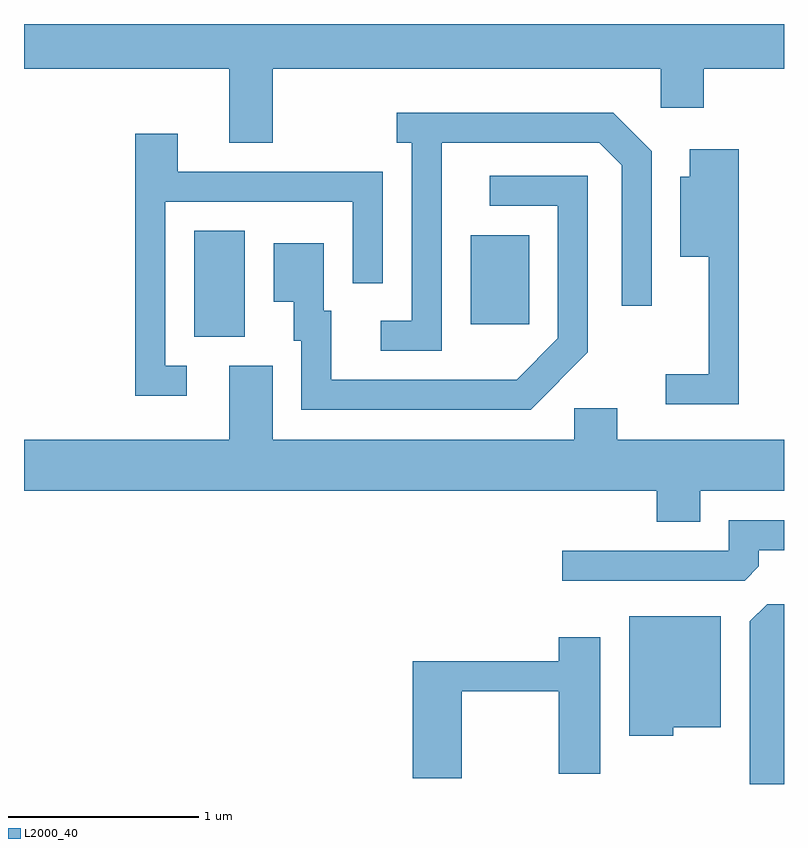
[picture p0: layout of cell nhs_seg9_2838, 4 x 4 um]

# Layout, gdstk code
import gdstk
lib = gdstk.Library(unit=1e-6, precision=1e-09)
def R(c, l, rs):  # rectangles x0, y0, x1, y1
    for r in rs: c.add(gdstk.rectangle(r[:2], r[2:], *l))
def P(c, l, *ps):  # polygons
    for p in ps: c.add(gdstk.Polygon(p, *l))
L2000_40 = (2000, 40)

nhs_seg9_2838 = lib.new_cell('nhs_seg9_2838')
R(nhs_seg9_2838, L2000_40, [(268.506,2054.786,268.774,2055.344), (269.961,2054.851,270.269,2055.319)])
P(nhs_seg9_2838, L2000_40, [(268.919,2056.196),(270.961,2056.196),(270.961,2055.991),(271.189,2055.991),(271.189,2056.196),(271.611,2056.196),(271.611,2056.432),(267.611,2056.432),(267.611,2056.196),(268.691,2056.196),(268.691,2055.806),(268.919,2055.806)],
  [(269.809,2055.806),(270.639,2055.806),(270.756,2055.689),(270.756,2054.948),(270.914,2054.948),(270.914,2055.762),(270.712,2055.964),(269.573,2055.964),(269.573,2055.806),(269.651,2055.806),(269.651,2054.869),(269.488,2054.869),(269.488,2054.711),(269.809,2054.711)],
  [(268.468,2054.634),(268.354,2054.634),(268.354,2055.496),(269.341,2055.496),(269.341,2055.068),(269.499,2055.068),(269.499,2055.654),(268.419,2055.654),(268.419,2055.854),(268.196,2055.854),(268.196,2054.476),(268.468,2054.476)],
  [(271.374,2055.774),(271.116,2055.774),(271.116,2055.629),(271.066,2055.629),(271.066,2055.206),(271.216,2055.206),(271.216,2054.589),(270.988,2054.589),(270.988,2054.431),(271.374,2054.431)],
  [(270.579,2054.704),(270.579,2055.634),(270.063,2055.634),(270.063,2055.476),(270.421,2055.476),(270.421,2054.777),(270.204,2054.559),(269.229,2054.559),(269.229,2054.924),(269.189,2054.924),(269.189,2055.279),(268.926,2055.279),(268.926,2054.971),(269.031,2054.971),(269.031,2054.766),(269.071,2054.766),(269.071,2054.401),(270.277,2054.401)],
  [(271.169,2053.976),(271.611,2053.976),(271.611,2054.244),(270.734,2054.244),(270.734,2054.409),(270.506,2054.409),(270.506,2054.244),(268.919,2054.244),(268.919,2054.634),(268.691,2054.634),(268.691,2054.244),(267.611,2054.244),(267.611,2053.976),(270.941,2053.976),(270.941,2053.811),(271.169,2053.811)],
  [(271.479,2053.577),(271.479,2053.661),(271.611,2053.661),(271.611,2053.819),(271.321,2053.819),(271.321,2053.659),(270.443,2053.659),(270.443,2053.501),(271.404,2053.501)],
  [(271.611,2053.379),(271.522,2053.379),(271.431,2053.289),(271.431,2052.432),(271.611,2052.432)],
  [(271.029,2052.731),(271.279,2052.731),(271.279,2053.314),(270.796,2053.314),(270.796,2052.686),(271.029,2052.686)],
  [(269.914,2052.921),(270.426,2052.921),(270.426,2052.486),(270.644,2052.486),(270.644,2053.204),(270.426,2053.204),(270.426,2053.079),(269.656,2053.079),(269.656,2052.461),(269.914,2052.461)])

lib.write_gds('nhs_seg9_2838.gds')
